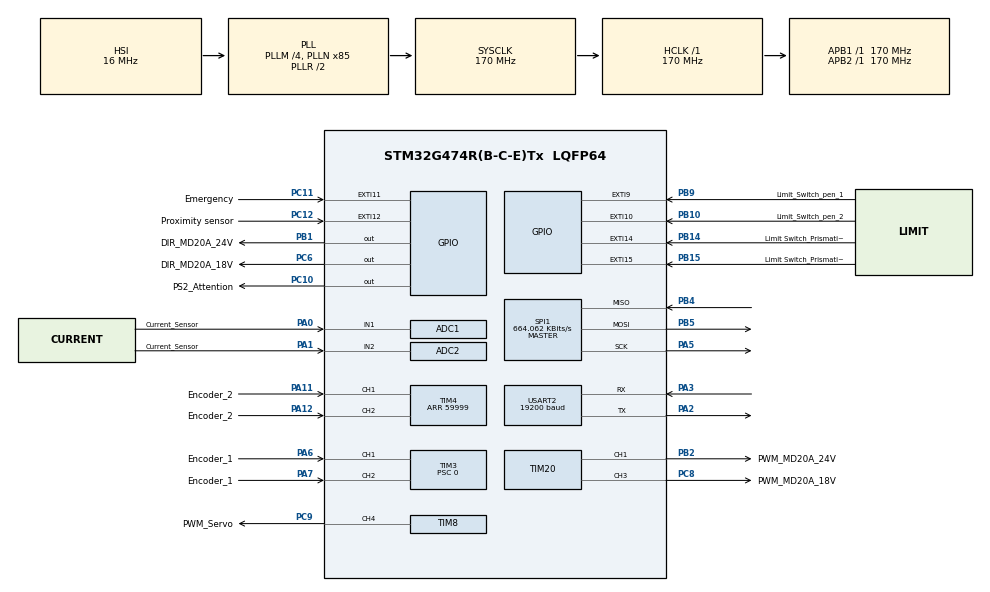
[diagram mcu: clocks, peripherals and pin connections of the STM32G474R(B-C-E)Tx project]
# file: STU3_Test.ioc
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ADC1.Channel-0\#ChannelRegularConversion=ADC_CHANNEL_1
ADC1.NbrOfConversionFlag=1
ADC1.OffsetNumber-0\#ChannelRegularConversion=ADC_OFFSET_NONE
ADC1.Rank-0\#ChannelRegularConversion=1
ADC1.SamplingTime-0\#ChannelRegularConversion=ADC_SAMPLETIME_2CYCLES_5
ADC1.master=1
ADC2.Channel-0\#ChannelRegularConversion=ADC_CHANNEL_2
ADC2.NbrOfConversionFlag=1
ADC2.OffsetNumber-0\#ChannelRegularConversion=ADC_OFFSET_NONE
ADC2.Rank-0\#ChannelRegularConversion=1
ADC2.SamplingTime-0\#ChannelRegularConversion=ADC_SAMPLETIME_2CYCLES_5
ARM.CMSIS-DSP.1.15.0.CMSISJjDSP=Source
ARM.CMSIS.6.0.0.CMSISJjCORE=true
Dma.Request0=USART2_TX
Dma.USART2_TX.0.Direction=DMA_MEMORY_TO_PERIPH
Dma.USART2_TX.0.EventEnable=DISABLE
Dma.USART2_TX.0.Instance=DMA1_Channel1
Dma.USART2_TX.0.MemDataAlignment=DMA_MDATAALIGN_BYTE
Dma.USART2_TX.0.MemInc=DMA_MINC_ENABLE
Dma.USART2_TX.0.Mode=DMA_NORMAL
Dma.USART2_TX.0.PeriphDataAlignment=DMA_PDATAALIGN_BYTE
Dma.USART2_TX.0.PeriphInc=DMA_PINC_DISABLE
Dma.USART2_TX.0.Polarity=HAL_DMAMUX_REQ_GEN_RISING
Dma.USART2_TX.0.Priority=DMA_PRIORITY_LOW
Dma.USART2_TX.0.RequestNumber=1
Dma.USART2_TX.0.SignalID=NONE
Dma.USART2_TX.0.SyncEnable=DISABLE
Dma.USART2_TX.0.SyncPolarity=HAL_DMAMUX_SYNC_NO_EVENT
Dma.USART2_TX.0.SyncRequestNumber=1
Dma.USART2_TX.0.SyncSignalID=NONE
Mcu.Family=STM32G4
Mcu.Name=STM32G474R(B-C-E)Tx
Mcu.Package=LQFP64
NVIC.DMA1_Channel1_IRQn=true\:0\:0\:false\:false\:true\:false\:true\:true
NVIC.EXTI15_10_IRQn=true\:0\:0\:false\:false\:true\:true\:true\:true
NVIC.EXTI9_5_IRQn=true\:0\:0\:false\:false\:true\:true\:true\:true
NVIC.PriorityGroup=NVIC_PRIORITYGROUP_4
NVIC.TIM1_BRK_TIM15_IRQn=true\:0\:0\:false\:false\:true\:true\:true\:true
NVIC.TIM1_UP_TIM16_IRQn=true\:0\:0\:false\:false\:true\:true\:true\:true
NVIC.TIM2_IRQn=true\:0\:0\:false\:false\:true\:true\:true\:true
NVIC.USART2_IRQn=true\:0\:0\:false\:false\:true\:true\:true\:true
PA0.GPIO_Label=Current_Sensor
PA0.Mode=IN1-Single-Ended
PA0.Signal=ADC1_IN1
PA1.GPIO_Label=Current_Sensor
PA1.Signal=SharedAnalog_PA1
PA11.GPIO_Label=Encoder_2
PA11.Signal=S_TIM4_CH1
PA12.GPIO_Label=Encoder_2
PA12.Signal=S_TIM4_CH2
PA13.Signal=SYS_JTMS-SWDIO
PA14.Signal=SYS_JTCK-SWCLK
PA2.Mode=Asynchronous
PA2.Signal=USART2_TX
PA3.Mode=Asynchronous
PA3.Signal=USART2_RX
PA5.Mode=Full_Duplex_Master
PA5.Signal=SPI1_SCK
PA6.GPIO_Label=Encoder_1
PA6.GPIO_Speed=GPIO_SPEED_FREQ_LOW
PA6.Signal=S_TIM3_CH1
PA7.GPIO_Label=Encoder_1
PA7.GPIO_Speed=GPIO_SPEED_FREQ_LOW
PA7.Signal=S_TIM3_CH2
PB1.GPIO_Label=DIR_MD20A_24V
PB1.Signal=GPIO_Output
PB10.GPIO_Label=Limit_Switch_pen_2
PB10.GPIO_ModeDefaultEXTI=GPIO_MODE_IT_FALLING
PB10.Signal=GPXTI10
PB14.GPIO_Label=Limit Switch_Prismatic1
PB14.GPIO_ModeDefaultEXTI=GPIO_MODE_IT_FALLING
PB14.Signal=GPXTI14
PB15.GPIO_Label=Limit Switch_Prismatic2
PB15.GPIO_ModeDefaultEXTI=GPIO_MODE_IT_FALLING
PB15.Signal=GPXTI15
PB2.GPIO_Label=PWM_MD20A_24V
PB2.Signal=S_TIM20_CH1
PB3.Signal=SYS_JTDO-SWO
PB4.Mode=Full_Duplex_Master
PB4.Signal=SPI1_MISO
PB5.Mode=Full_Duplex_Master
PB5.Signal=SPI1_MOSI
PB9.GPIO_Label=Limit_Switch_pen_1
PB9.GPIO_ModeDefaultEXTI=GPIO_MODE_IT_FALLING
PB9.Signal=GPXTI9
PC10.GPIO_Label=PS2_Attention
PC10.PinState=GPIO_PIN_SET
PC10.Signal=GPIO_Output
PC11.GPIO_Label=Emergency
PC11.Signal=GPXTI11
PC12.GPIO_Label=Proximity sensor
PC12.GPIO_ModeDefaultEXTI=GPIO_MODE_IT_FALLING
PC12.GPIO_PuPd=GPIO_NOPULL
PC12.Signal=GPXTI12
PC14-OSC32_IN.GPIO_Label=RCC_OSC32_IN
PC14-OSC32_IN.Signal=RCC_OSC32_IN
PC15-OSC32_OUT.GPIO_Label=RCC_OSC32_OUT
PC15-OSC32_OUT.Signal=RCC_OSC32_OUT
PC6.GPIO_Label=DIR_MD20A_18V
PC6.GPIO_ModeDefaultOutputPP=GPIO_MODE_OUTPUT_PP
PC6.GPIO_PuPd=GPIO_NOPULL
PC6.Signal=GPIO_Output
PC8.GPIO_Label=PWM_MD20A_18V
PC8.Signal=S_TIM20_CH3
PC9.GPIO_Label=PWM_Servo
PC9.Signal=S_TIM8_CH4
PF0-OSC_IN.GPIO_Label=RCC_OSC_IN
PF0-OSC_IN.Signal=RCC_OSC_IN
PF1-OSC_OUT.GPIO_Label=RCC_OSC_OUT
PF1-OSC_OUT.Signal=RCC_OSC_OUT
ProjectManager.HeapSize=0x200
ProjectManager.StackSize=0x400
ProjectManager.TargetToolchain=STM32CubeIDE
RCC.ADC12Freq_Value=170000000
RCC.ADC345Freq_Value=170000000
RCC.AHBFreq_Value=170000000
RCC.APB1Freq_Value=170000000
RCC.APB1TimFreq_Value=170000000
RCC.APB2Freq_Value=170000000
RCC.APB2TimFreq_Value=170000000
RCC.CortexFreq_Value=170000000
RCC.EXTERNAL_CLOCK_VALUE=12288000
RCC.HCLKFreq_Value=170000000
RCC.HSE_VALUE=24000000
RCC.HSI48_VALUE=48000000
RCC.HSI_VALUE=16000000
RCC.LSE_VALUE=32768
RCC.PLLM=RCC_PLLM_DIV4
RCC.PLLN=85
RCC.RTCClockSelection=RCC_RTCCLKSOURCE_LSE
RCC.SYSCLKFreq_VALUE=170000000
RCC.SYSCLKSource=RCC_SYSCLKSOURCE_PLLCLK
RCC.USBFreq_Value=170000000
RCC.VCOOutputFreq_Value=340000000
SH.S_TIM20_CH1.0=TIM20_CH1,PWM Generation1 CH1
SH.S_TIM20_CH3.0=TIM20_CH3,PWM Generation3 CH3
SH.S_TIM3_CH1.0=TIM3_CH1,Encoder_Interface
SH.S_TIM3_CH2.0=TIM3_CH2,Encoder_Interface
SH.S_TIM4_CH1.0=TIM4_CH1,Encoder_Interface
SH.S_TIM4_CH2.0=TIM4_CH2,Encoder_Interface
SH.S_TIM8_CH4.0=TIM8_CH4,PWM Generation4 CH4
SH.SharedAnalog_PA1.0=ADC1_IN2
SH.SharedAnalog_PA1.1=ADC2_IN2,IN2-Single-Ended
SPI1.BaudRatePrescaler=SPI_BAUDRATEPRESCALER_256
SPI1.CLKPhase=SPI_PHASE_2EDGE
SPI1.CLKPolarity=SPI_POLARITY_HIGH
SPI1.CalculateBaudRate=664.062 KBits/s
SPI1.DataSize=SPI_DATASIZE_8BIT
SPI1.Direction=SPI_DIRECTION_2LINES
SPI1.FirstBit=SPI_FIRSTBIT_LSB
SPI1.Mode=SPI_MODE_MASTER
SPI1.VirtualType=VM_MASTER
TIM1.PeriodNoDither=60000
TIM16.Channel=TIM_CHANNEL_1
TIM16.OCMode_1=TIM_OCMODE_ACTIVE
TIM16.PeriodNoDither=2005
TIM16.Prescaler=169
TIM16.PulseNoDither_1=1433
TIM2.PeriodNoDither=1000
TIM2.Prescaler=169
TIM20.Channel-PWM\ Generation1\ CH1=TIM_CHANNEL_1
TIM20.Channel-PWM\ Generation3\ CH3=TIM_CHANNEL_3
TIM3.EncoderMode=TIM_ENCODERMODE_TI12
TIM3.PeriodNoDither=59999
TIM3.Prescaler=0
TIM4.EncoderMode=TIM_ENCODERMODE_TI12
TIM4.PeriodNoDither=59999
TIM8.Channel-PWM\ Generation4\ CH4=TIM_CHANNEL_4
TIM8.PeriodNoDither=19999
TIM8.Prescaler=169
USART2.BaudRate=19200
USART2.Parity=PARITY_EVEN
USART2.VirtualMode-Asynchronous=VM_ASYNC
USART2.WordLength=WORDLENGTH_9B
VP_ARM.CMSIS-DSP_VS_CMSISJjDSP_1.15.0_1.15.0.Mode=CMSISJjDSP
VP_ARM.CMSIS_VS_CMSISJjCORE_6.0.0_6.0.0.Mode=CMSISJjCORE
VP_SYS_VS_DBSignals.Mode=DisableDeadBatterySignals
VP_TIM16_VS_ClockSourceINT.Mode=Enable_Timer
VP_TIM16_VS_OPM.Mode=OPM_bit
VP_TIM16_VS_no_output1.Mode=Output Compare1 No Output
VP_TIM1_VS_ClockSourceINT.Mode=Internal
VP_TIM20_VS_ClockSourceINT.Mode=Internal
VP_TIM2_VS_ClockSourceINT.Mode=Internal
VP_TIM8_VS_ClockSourceINT.Mode=Internal
board=NUCLEO-G474RE

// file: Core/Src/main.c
/* USER CODE BEGIN Header */
/**
 ******************************************************************************
 * @file           : main.c
 * @brief          : Main program body
 ******************************************************************************
 * @attention
 *
 * Copyright (c) 2025 STMicroelectronics.
 * All rights reserved.
 *
 * This software is licensed under terms that can be found in the LICENSE file
 * in the root directory of this software component.
 * If no LICENSE file comes with this software, it is provided AS-IS.
 *
 ******************************************************************************
 */
/* USER CODE END Header */
#include "main.h"
#include "adc.h"
#include "dma.h"
#include "spi.h"
#include "tim.h"
#include "usart.h"
#include "gpio.h"

/* USER CODE BEGIN Includes */
#include "arm_math.h"
#include "Encoder.h"
#include "Trajectory.h"
//#include "ModBusRTU.h"
#include "Based_System_Communication.h"
#include "Kalman_Filter.h"
#include "Prismatic.h"
#include "Revolute.h"
#include "Joystick.h"
#include "FIBO_path.h"
/* USER CODE END Includes */

/* USER CODE BEGIN PV */
Encoder encoder1;
Encoder encoder2;
uint32_t QEIReadRaw3;
uint32_t QEIReadRaw4;

//Trajectory
float pos_pris;
float vel_pris;
float pos_rev;
float vel_rev;
int current_segment = 0;
TrajectorySegment Prismatic[10];
#define v_max_pris 500.0f
#define a_max_pris 250.0f
TrajectorySegment Revolute[10];
#define v_max_rev 0.3f
#define a_max_rev 0.05f
float t_global = 0;
float start_pris;
float end_pris;
float start_rev;
float end_rev;
TrajectorySegment currentPrismatic;
TrajectorySegment currentRevolute;
int current_index = 0;
float next_start_time = 0.0f;

float acc;
float p1 = 0;
float v1 = 0;
float a1 = 0;
float p2 = 0;
float v2 = 0;
float a2 = 0;
int check = 0;
int State = 0;
uint16_t adc_1 = 0;
uint16_t adc_2 = 0;

ModbusHandleTypedef hmodbus;
u16u8_t registerFrame[200];
float Goal_r_position = 999;
float Goal_theta_position = 999;

uint16_t status;
int DIR_18V ;
int DIR_24V;
float gain_disturbance_rev;
float voltage_dis_rev;
float pwm;
float voltage;
int count_Tim2;

// position control prismatic
arm_pid_instance_f32 Pris_posi_PID = {0};
float position_pris = 0;
float setposition_pris = 0;
float V_pris_posi_PID = 0;
float V_absoulte_pris = 0;
float pwm_pris_posi;
float error_posi_pris[2];
float delta_posi_pris;

// velocity control prismatic
arm_pid_instance_f32 Pris_velo_PID = {0};
float velocity_pris = 0;
float setvelocity_pris = 0;
float V_pris_velo_PID = 0;
float pwm_pris_velo;
float error_velo_pris[2];
float delta_velo_pris;

// position control revolute
arm_pid_instance_f32 Rev_posi_PID = {0};
float position_rev = 0;
float setposition_rev = 0;
float V_rev_posi_PID = 0;
float pwm_rev_posi;
float error_posi_rev[2];
float delta_posi_rev;

// velocity control revolute
arm_pid_instance_f32 Rev_velo_PID = {0};
float velocity_rev = 0;
float setvelocity_rev = 0;
float V_rev_velo_PID = 0;
float pwm_rev_velo;
float error_velo_rev[2];
float delta_velo_rev;
float V_absolute_rev;
float V_plant;

KalmanFilter kf_pris;
KalmanFilter kf_rev;
PrismaticMotor Pris_motor;
RevoluteMotor Rev_motor;
float Measurement_Pris[4] = {0};
float Measurement_Rev[4]= {0};

float load;
float sine;
float encoder;

int Circle;
int Square;
int Triangle;
int Cross;
int R1;
int R2;
int Select;
int Start;
int L2;
//float PrismaticTenPoints[11] = {0.0f, 0.52f, -0.9f, 0.9f, 0.0f, 0.9f, -0.78f, 0.0f, 0.9f, 0.78f, 0.0f};
//float PrismaticTenpoints_actual[11] = {0.0f, 0.62f, -0.8f, 1.0f, -0.1f, 1.0f, -0.68f, 0.1f, 1.0f, 0.88f, -0.1f};
//float RevoluteTenPoints[11] = {0.0f, 0.62f, -0.8f, 1.0f, -0.1f, 1.0f, -0.68f, 0.1f, 1.0f, 0.88f, -0.1f};
int count = 0;
int test = 0;
int start_trajectory;
float delay_pris[10];
float delay_rev[10];
int state_joy;
/* USER CODE END PV */

void SystemClock_Config(void);
/* USER CODE BEGIN PFP */
float Prismatic_position_control(float delta_posi);
float Prismatic_velocity_control(float delta_velo);
float Revolute_position_control(float delta_posi);
float Revolute_velocity_control(float delta_velo);
float voltage_to_pwm(float voltage);
float Prismatic_dis();
float Revolute_dis();
void updateTrajectoryIfNeeded(float t_global);
/* USER CODE END PFP */

int main(void)
{

  /* MCU Configuration--------------------------------------------------------*/

  /* Reset of all peripherals, Initializes the Flash interface and the Systick. */
  HAL_Init();

  /* Configure the system clock */
  SystemClock_Config();

  /* Initialize all configured peripherals */
  MX_GPIO_Init();
  MX_DMA_Init();
  MX_TIM3_Init();
  MX_ADC1_Init();
  MX_TIM1_Init();
  MX_TIM2_Init();
  MX_TIM4_Init();
  MX_TIM20_Init();
  MX_TIM8_Init();
  MX_TIM16_Init();
  MX_USART2_UART_Init();
  MX_ADC2_Init();
  MX_SPI1_Init();
  /* USER CODE BEGIN 2 */
	HAL_TIM_Base_Start(&htim20);
	HAL_TIM_Base_Start(&htim8);
	HAL_TIM_PWM_Start(&htim8, TIM_CHANNEL_4);
	HAL_TIM_PWM_Start(&htim20, TIM_CHANNEL_1);
	HAL_TIM_PWM_Start(&htim20, TIM_CHANNEL_3);
	Encoder_Init(&encoder1, &htim4);
	Encoder_Init(&encoder2, &htim3);
	HAL_ADC_Start(&hadc1);
	HAL_TIM_Base_Start_IT(&htim2);

	int lastTick = 0;

	HAL_TIM_Encoder_Start(&htim3, TIM_CHANNEL_ALL);
	HAL_TIM_Encoder_Start(&htim4, TIM_CHANNEL_ALL);

	hmodbus.huart = &huart2;
	hmodbus.htim = &htim16;
	hmodbus.slaveAddress = 0x15;
	hmodbus.RegisterSize = 200;
	Modbus_init(&hmodbus, registerFrame);

	Kalman_Init(&kf_pris);

	kf_pris.A_data[0] = 1;
	kf_pris.A_data[1] = 0.0008395;
	kf_pris.A_data[2] = -4.198e-07;
	kf_pris.A_data[3] = 1.282e-05;
	kf_pris.A_data[4] = 0;
	kf_pris.A_data[5] = 0.6791;
	kf_pris.A_data[6] = -0.0008395;
	kf_pris.A_data[7] = 0.02564;
	kf_pris.A_data[8] = 0;
	kf_pris.A_data[9] = 0;
	kf_pris.A_data[10] = 1;
	kf_pris.A_data[11] = 0;
	kf_pris.A_data[12] = 0;
	kf_pris.A_data[13] = -0.04203;
	kf_pris.A_data[14] = 2.101e-05;
	kf_pris.A_data[15] = -0.09565;

	kf_pris.B_data[0] = 4.006e-06;
	kf_pris.B_data[1] = 0.008011;
	kf_pris.B_data[2] = 0;
	kf_pris.B_data[3] = 0.2826;

	// Identity H
	for (int i = 0; i < KALMAN_MEAS_DIM; i++) {
	    for (int j = 0; j < KALMAN_STATE_DIM; j++) {
	        kf_pris.H_data[i * KALMAN_STATE_DIM + j] = (i == j) ? 1.0f : 0.0f;
	    }
	}

	// Prismatic
	kf_pris.x_data[0] = 0;
	kf_pris.x_data[1] = 0;
	kf_pris.x_data[2] = 0;
	kf_pris.x_data[3] = 0;

	Kalman_SetMeasurementNoise(&kf_pris, 0.01f);
	Kalman_SetProcessNoise(&kf_pris, 0.9f);

	Kalman_Init(&kf_rev);

	kf_rev.A_data[0] = 1;
	kf_rev.A_data[1] = 0.0009998;
	kf_rev.A_data[2] = -2.659e-06;
	kf_rev.A_data[3] = 8.108e-08;
	kf_rev.A_data[4] = 0;
	kf_rev.A_data[5] = 0.9996;
	kf_rev.A_data[6] = -0.005318;
	kf_rev.A_data[7] = 0.0001622;
	kf_rev.A_data[8] = 0;
	kf_rev.A_data[9] = 0;
	kf_rev.A_data[10] = 1;
	kf_rev.A_data[11] = 0;
	kf_rev.A_data[12] = 0;
	kf_rev.A_data[13] = -2.746;
	kf_rev.A_data[14] = 0.007303;
	kf_rev.A_data[15] = 0.1354;

	kf_rev.B_data[0] = 1.203e-07;
	kf_rev.B_data[1] = 0.0002406;
	kf_rev.B_data[2] = 0;
	kf_rev.B_data[3] = 1.685;

	// Identity H
	for (int i = 0; i < 2; i++) {
	    for (int j = 0; j < 4; j++) {
	        if (i == j) {
	            kf_rev.H_data[i * 4 + j] = 1.0f;
	        } else {
	            kf_rev.H_data[i * 4 + j] = 0.0f;
	        }
	    }
	}

	// Revolute
	kf_rev.x_data[0] = 0;
	kf_rev.x_data[1] = 0;
	kf_rev.x_data[2] = 0;
	kf_rev.x_data[3] = 0;

	Kalman_SetMeasurementNoise(&kf_rev, 0.08f);
	Kalman_SetProcessNoise(&kf_rev, 0.12f);

	Pris_motor = create_prismatic_motor(2.29e-04, 4.82e-04, 8.75e-01, 1.77e-01, 1.77e-01, 3.8719, 0.0016);
	Rev_motor = create_motor(1.88E-01, 6.91E-03, 7.36E-01, 1.63E+00, 1.63E+00 * 7.36E-01, 5.13E-01, 3.37E-04);

	// Prismatic Position
	Pris_posi_PID.Kp = 0.3;
	Pris_posi_PID.Ki = 0.01;
	Pris_posi_PID.Kd = 0.3;
	arm_pid_init_f32(&Pris_posi_PID, 0);

	// Prismatic Velocity
	Pris_velo_PID.Kp = 0.08;
	Pris_velo_PID.Ki = 0.01;
	Pris_velo_PID.Kd = 0;
	arm_pid_init_f32(&Pris_velo_PID, 0);

	// Revolute Position
	Rev_posi_PID.Kp = 2.5;
	Rev_posi_PID.Ki = 0.1;
	Rev_posi_PID.Kd = 0.8;
	arm_pid_init_f32(&Rev_posi_PID, 0);

	// Revolute Velocity
	Rev_velo_PID.Kp = 2.0;
	Rev_velo_PID.Ki = 0.1;
	Rev_velo_PID.Kd = 0;
	arm_pid_init_f32(&Rev_velo_PID, 0);

//	InitTrajectorySegment(&segments[0], 0.0f, 200.0f, 500.0f, 250.0f, 0.0f);
//	InitTrajectorySegment(&segments[0], 0.0f,  0.785f, 1.0f, 0.4f, 0.0f);
//	InitTrajectorySegment(&segments[1], 100.0f, 50.0f, 40.0f, 80.0f, segments[0].t_start + segments[0].t_total);
//	InitTrajectorySegment(&segments[2], 50.0f, 200.0f, 60.0f, 120.0f, segments[1].t_start + segments[1].t_total);
  /* USER CODE END 2 */

  /* Infinite loop */
	while (1) {

    /* USER CODE BEGIN 3 */
		HAL_ADC_Start(&hadc1);
		HAL_ADC_Start(&hadc2);
		adc_1 = HAL_ADC_GetValue(&hadc1);
		adc_2 = HAL_ADC_GetValue(&hadc2);
		QEIReadRaw3 = __HAL_TIM_GET_COUNTER(&htim3);
		QEIReadRaw4 = __HAL_TIM_GET_COUNTER(&htim4);

		Modbus_Protocal_Worker();

		uint32_t currentTick = HAL_GetTick();
		float dt = (currentTick - lastTick) / 1000.0f;
		if (dt >= 0.001f) {
			Encoder_Update(&encoder1, dt);
			Encoder_Update(&encoder2, dt);
			lastTick = currentTick;

			p1 = Encoder_GetPosition_mm(&encoder1);
			v1 = Encoder_GetVelocity(&encoder1);
			a1 = Encoder_GetAcceleration(&encoder1);

			p2 = Encoder_GetPosition(&encoder2);
			v2 = Encoder_GetVelocity(&encoder2);
			a2 = Encoder_GetAcceleration(&encoder2);

			Measurement_Pris[0] = Encoder_GetPosition_mm(&encoder1);
			Measurement_Pris[1] = Encoder_GetVelocity_mm(&encoder1);
			Measurement_Pris[2] = 0;
			Measurement_Pris[3] = 0;
			Kalman_SetInput(&kf_pris, V_pris_velo_PID);
			Kalman_Predict(&kf_pris);
			Kalman_Update(&kf_pris, Measurement_Pris);

			Measurement_Rev[0] = Encoder_GetPosition(&encoder2) / (100/30);
			Measurement_Rev[1] = Encoder_GetVelocity(&encoder2) / (100/30);
			Measurement_Rev[2] = 0;
			Measurement_Rev[3] = 0;
			Kalman_SetInput(&kf_rev, V_rev_velo_PID);
			Kalman_Predict(&kf_rev);
			Kalman_Update(&kf_rev, Measurement_Rev);

			Revolute_dis();
			position_pris = Encoder_GetPosition_mm(&encoder1);
			position_rev = Encoder_GetPosition(&encoder2) / (100.0 / 30.0);
			count_Tim2 += 1;
			// Velocity Control Prismatic
			velocity_pris = Encoder_GetVelocity_mm(&encoder1);
//			setvelocity_pris = GetTrajectoryVelocity(&Prismatic[current_segment], t_global) + V_pris_posi_PID;
			setvelocity_pris = vel_pris + V_pris_posi_PID;
			delta_velo_pris = setvelocity_pris - velocity_pris;
//			delta_velo_pris = setvelocity_pris - kf_pris.x_data[1];
			V_pris_velo_PID = Prismatic_velocity_control(delta_velo_pris);

			// Velocity Control revolute
			velocity_rev = Encoder_GetVelocity(&encoder2) / (100.0 / 30.0);
//			setvelocity_rev = GetTrajectoryVelocity(&Revolute[current_segment], t_global) + V_rev_posi_PID;
			setvelocity_rev = vel_rev + V_rev_posi_PID;
//			delta_velo_rev = setvelocity_rev - velocity_rev;
			delta_velo_rev = setvelocity_rev - kf_rev.x_data[1];
			V_rev_velo_PID = Revolute_velocity_control(delta_velo_rev);
			if (count_Tim2 >= 10) {
				// Position Control Prismatic
//				position_pris = Encoder_GetPosition_mm(&encoder1);
//				setposition_pris = GetTrajectoryPosition(&Prismatic[current_segment], t_global);
				setposition_pris = pos_pris;
				delta_posi_pris = setposition_pris - position_pris;
				if (delta_posi_pris <= 0.1 && delta_posi_pris >= -0.1) {
					V_pris_posi_PID = 0;
					V_pris_velo_PID = 0;
				} else {
					V_pris_posi_PID = Prismatic_position_control(delta_posi_pris);
				}
//				V_pris_posi_PID = Prismatic_position_control(delta_posi_pris);

				// Position Control Revolute
//				position_rev = Encoder_GetPosition(&encoder2) / (100.0 / 30.0);
//				setposition_rev = GetTrajectoryPosition(&Revolute[current_segment], t_global) + Rev_backlash.backlash_offset;
				setposition_rev = pos_rev;
//				Backlash_Update(&Rev_backlash, pos_rev, p2, v2);
				delta_posi_rev = setposition_rev - position_rev;
				if (delta_posi_rev <= 0.1 && delta_posi_rev >= -0.1) {
					V_rev_posi_PID = 0;
					V_rev_velo_PID = 0;
				} else {
					V_rev_posi_PID = Revolute_position_control(delta_posi_rev);
				}

				count_Tim2 = 0;
			}
		}

		t_global = HAL_GetTick() / 1000.0f;
		updateTrajectoryIfNeeded(t_global);

		pos_pris = GetTrajectoryPosition(&currentPrismatic, t_global);
		vel_pris = GetTrajectoryVelocity(&currentPrismatic, t_global);
		pos_rev = GetTrajectoryPosition(&currentRevolute, t_global);
		vel_rev = GetTrajectoryVelocity(&currentRevolute, t_global);

		if (current_index >= 46 - 1) {
		    pos_pris = currentPrismatic.end_pos;
		    vel_pris = 0;
		    pos_rev = currentRevolute.end_pos;
		    vel_rev = 0;
		}

		if (V_pris_velo_PID < 0) {
			DIR_24V = 0;
			V_absoulte_pris = fabsf(V_pris_velo_PID);
		} else if (V_pris_velo_PID > 0) {
			DIR_24V = 1;
			V_absoulte_pris = V_pris_velo_PID;
		}
		pwm_pris_velo = voltage_to_pwm(V_absoulte_pris);
		HAL_GPIO_WritePin(GPIOB, GPIO_PIN_1, DIR_24V);
		__HAL_TIM_SET_COMPARE(&htim20,TIM_CHANNEL_1,pwm_pris_velo);

		if (V_rev_velo_PID < 0) {
			DIR_18V = 0;
			V_absolute_rev = fabsf(V_rev_velo_PID);
		} else if (V_rev_velo_PID > 0) {
			DIR_18V = 1;
			V_absolute_rev = V_rev_velo_PID;
		}
		V_plant = V_absolute_rev + voltage_dis_rev;
		if (V_plant > 18) {
			V_plant = 18;
		}
		pwm_rev_velo = (V_plant / 18) * 65535;
		HAL_GPIO_WritePin(GPIOC, GPIO_PIN_6, DIR_18V);
		__HAL_TIM_SET_COMPARE(&htim20,TIM_CHANNEL_3,pwm_rev_velo);
	}
  /* USER CODE END 3 */
}

void SystemClock_Config(void)
{
  RCC_OscInitTypeDef RCC_OscInitStruct = {0};
  RCC_ClkInitTypeDef RCC_ClkInitStruct = {0};

  /** Configure the main internal regulator output voltage
  */
  HAL_PWREx_ControlVoltageScaling(PWR_REGULATOR_VOLTAGE_SCALE1_BOOST);

  /** Initializes the RCC Oscillators according to the specified parameters
  * in the RCC_OscInitTypeDef structure.
  */
  RCC_OscInitStruct.OscillatorType = RCC_OSCILLATORTYPE_HSI;
  RCC_OscInitStruct.HSIState = RCC_HSI_ON;
  RCC_OscInitStruct.HSICalibrationValue = RCC_HSICALIBRATION_DEFAULT;
  RCC_OscInitStruct.PLL.PLLState = RCC_PLL_ON;
  RCC_OscInitStruct.PLL.PLLSource = RCC_PLLSOURCE_HSI;
  RCC_OscInitStruct.PLL.PLLM = RCC_PLLM_DIV4;
  RCC_OscInitStruct.PLL.PLLN = 85;
  RCC_OscInitStruct.PLL.PLLP = RCC_PLLP_DIV2;
  RCC_OscInitStruct.PLL.PLLQ = RCC_PLLQ_DIV2;
  RCC_OscInitStruct.PLL.PLLR = RCC_PLLR_DIV2;
  if (HAL_RCC_OscConfig(&RCC_OscInitStruct) != HAL_OK)
  {
    Error_Handler();
  }

  /** Initializes the CPU, AHB and APB buses clocks
  */
  RCC_ClkInitStruct.ClockType = RCC_CLOCKTYPE_HCLK|RCC_CLOCKTYPE_SYSCLK
                              |RCC_CLOCKTYPE_PCLK1|RCC_CLOCKTYPE_PCLK2;
  RCC_ClkInitStruct.SYSCLKSource = RCC_SYSCLKSOURCE_PLLCLK;
  RCC_ClkInitStruct.AHBCLKDivider = RCC_SYSCLK_DIV1;
  RCC_ClkInitStruct.APB1CLKDivider = RCC_HCLK_DIV1;
  RCC_ClkInitStruct.APB2CLKDivider = RCC_HCLK_DIV1;

  if (HAL_RCC_ClockConfig(&RCC_ClkInitStruct, FLASH_LATENCY_4) != HAL_OK)
  {
    Error_Handler();
  }
}

/* USER CODE BEGIN 4 */
void HAL_GPIO_EXTI_Callback(uint16_t GPIO_Pin) {
	if (GPIO_Pin == GPIO_PIN_9) {
		State = 9;
	} else if (GPIO_Pin == GPIO_PIN_10) {
		State = 10;
	} else if (GPIO_Pin == GPIO_PIN_11) {
		State = 11;
	} else if (GPIO_Pin == GPIO_PIN_12) {
		State = 12;
	} else if (GPIO_Pin == GPIO_PIN_13) {
		State = 13;
	} else if (GPIO_Pin == GPIO_PIN_14) {
		State = 14;
	} else if (GPIO_Pin == GPIO_PIN_15) {
		State = 15;
	}
}

void HAL_TIM_PeriodElapsedCallback(TIM_HandleTypeDef *htim) {
//	if (htim == &htim2) {
//		PS2_ReadData();
//	}
}

float Prismatic_position_control(float delta_posi) {
	int anti_windup;
	error_posi_pris[0] = delta_posi;
//	Pris_posi_PID.Kp = 1;
//	Pris_posi_PID.Kd = 1;

	if (error_posi_pris[0] < 0 && error_posi_pris[1] > 0) {
		anti_windup = 0;
	} else if (error_posi_pris[0] > 0 && error_posi_pris[1] < 0) {
		anti_windup = 0;
	} else {
		anti_windup = 1;
	}

//	if (V_pris_posi_PID >= 24 && anti_windup == 0) {
//		Pris_posi_PID.Ki = 0;
//	} else {
//		Pris_posi_PID.Ki = 1;
//	}

	V_pris_posi_PID = arm_pid_f32(&Pris_posi_PID, delta_posi);

//	if (V_pris_posi_PID > 24) {
//		V_pris_posi_PID = 24;
//	}

	error_posi_pris[1] = error_posi_pris[0];
	return V_pris_posi_PID;
}

float Prismatic_velocity_control(float delta_velo) {
	int anti_windup;
	error_velo_pris[0] =  delta_velo;
//	Pris_velo_PID.Kp = 0.01;

	if (error_velo_pris[0] < 0 && error_velo_pris[1] > 0) {
		anti_windup = 0;
	} else if (error_velo_pris[0] > 0 && error_velo_pris[1] < 0) {
		anti_windup = 0;
	} else {
		anti_windup = 1;
	}

	if (V_pris_velo_PID >= 24 && anti_windup == 0) {
		Pris_velo_PID.Ki = 0;
	} else {
		Pris_velo_PID.Ki = 0.001;
	}

	V_pris_velo_PID = arm_pid_f32(&Pris_velo_PID, delta_velo);

	if (V_pris_velo_PID > 24) {
		V_pris_velo_PID = 24;
	} else if (V_pris_velo_PID < -24) {
		V_pris_velo_PID = -24;
	}

	error_velo_pris[1] = error_velo_pris[0];
	return V_pris_velo_PID;
}

float Revolute_position_control(float delta_posi) {
	int anti_windup;
	error_posi_rev[0] = delta_posi;
//	Rev_posi_PID.Kp = 1;
//	Rev_posi_PID.Kd = 1;

	if (error_posi_rev[0] < 0 && error_posi_rev[1] > 0) {
		anti_windup = 0;
	} else if (error_posi_rev[0] > 0 && error_posi_rev[1] < 0) {
		anti_windup = 0;
	} else {
		anti_windup = 1;
	}

//	if (V_rev_posi_PID >= 24 && anti_windup == 0) {
//		Rev_posi_PID.Ki = 0;
//	} else {
//		Rev_posi_PID.Ki = 1;
//	}

	V_rev_posi_PID = arm_pid_f32(&Rev_posi_PID, delta_posi);

//	if (V_rev_posi_PID > 24) {
//		V_rev_posi_PID = 24;
//	}

	error_posi_rev[1] = error_posi_rev[0];
	return V_rev_posi_PID;
}

float Revolute_velocity_control(float delta_velo) {
	int anti_windup;
	error_velo_rev[0] =  delta_velo;
//	Rev_velo_PID.Kp = 0.01;

	if (error_velo_rev[0] < 0 && error_velo_rev[1] > 0) {
		anti_windup = 0;
	} else if (error_velo_rev[0] > 0 && error_velo_rev[1] < 0) {
		anti_windup = 0;
	} else {
		anti_windup = 1;
	}

	if (V_rev_velo_PID >= 18 && anti_windup == 0) {
		Rev_velo_PID.Ki = 0;
	} else {
		Rev_velo_PID.Ki = 0.001;
	}

	if (V_rev_velo_PID > 18) {
		V_rev_velo_PID = 18;
	}

	V_rev_velo_PID = arm_pid_f32(&Rev_velo_PID, delta_velo);
	error_velo_rev[1] = error_velo_rev[0];
	return V_rev_velo_PID;
}

float voltage_to_pwm(float voltage) {
	float pwm = (voltage * 65535) / 24;
	return pwm;
}

//float Prismatic_dis() {
//	float load = 0.01 / (2.0 * (22.0/7.0) * 4.0 * motor.Kt_Pri);
//	voltage_dis = (disturbance_feedforward_pri(&motor, load)) * (0.3*9.81) * gain_disturbance; // อย่าลืมคูณ sin(theta)
//	return voltage_dis;
//}

float Revolute_dis() {
	load = (8.2 * 9.81 * 0.45 * sinf(Encoder_GetPosition(&encoder2) / (100.0/30.0))) +
			(0.3 * 9.81 * sinf(Encoder_GetPosition(&encoder2) / (100.0/30.0)) * 0.4);
	sine = sinf(Encoder_GetPosition(&encoder2) / (100.0/30.0));
	encoder = Encoder_GetPosition(&encoder2) / (100.0/30.0);
//	load = (8.2 * 9.81 * 0.45 * cosf(1.57)) + (0.3 * 9.81 * cosf(1.57) * 0.4);
//	voltage_dis_rev = (disturbance_feedforward(&Rev_motor, load)) * gain_disturbance_rev;
	voltage_dis_rev = (Rev_motor.R_Rev / Rev_motor.Ke_Rev) * kf_rev.x_data[2] * 1.0 / 3.3;
	return voltage_dis_rev;
}

void updateTrajectoryIfNeeded(float t_global) {
    if (current_index >= 46 - 1) return;

    if (t_global >= next_start_time) {
        float start_pris = smooth_path_polar[current_index][0];
        float end_pris = smooth_path_polar[current_index + 1][0];

        float start_rev = smooth_path_polar[current_index][1];
        float end_rev = smooth_path_polar[current_index + 1][1];

        InitTrajectorySegment(&currentPrismatic, start_pris, end_pris, v_max_pris, a_max_pris, t_global);
        InitTrajectorySegment(&currentRevolute,  start_rev,  end_rev,  v_max_rev,  a_max_rev,  t_global);
        next_start_time = t_global + fmaxf(currentPrismatic.t_total, currentRevolute.t_total);

        current_index++;
    }
}
/* USER CODE END 4 */

void Error_Handler(void)
{
	__disable_irq();
	while (1) {
	}
}
